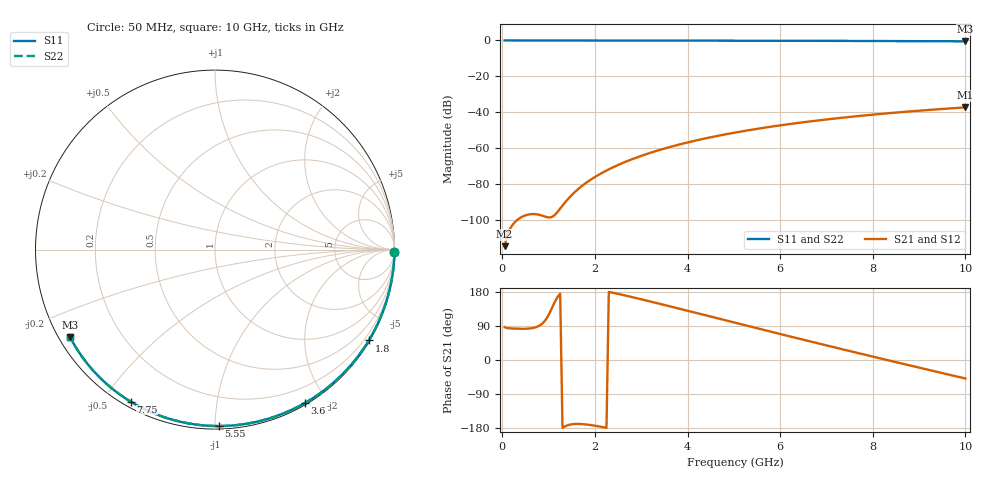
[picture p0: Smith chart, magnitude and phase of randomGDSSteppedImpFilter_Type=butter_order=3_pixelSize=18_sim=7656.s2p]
! freq	dB(S11)	phase(S11)	dB(S12)	phase(S12)
!  dB(S21)	phase(S21)	dB(S22)	phase(S22)
!S-par simulation data
#  GHz  S  DB  R 50
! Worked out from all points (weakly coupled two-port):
!   200 points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, 50 MHz to 10 GHz, reference 50 ohm
!   highest |S21| = -37.21 dB at 10 GHz (marker M1); lowest = -114.4 dB at 50 MHz (marker M2)
!   lowest |S11| = -0.5 dB at 10 GHz (marker M3), VSWR 34.57, Z = 1.56 - j14 ohm
!   |S11| at or under -10 dB: nowhere
!   |S22| runs from -0.5 to 0.0 dB; largest |S21 - S12| = 0
!   S11 on the Smith chart (normalised r, x): 50 MHz: open; 1.8 GHz: 0.03, -3.66; 3.6 GHz: 0.02, -1.75; 5.55 GHz: 0.02, -1.02; 7.75 GHz: 0.02, -0.59; 10 GHz: 0.03, -0.28
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0.05  -0.00 -0.9  -114.36 86.5  -114.36 86.5  -0.00 -0.9
0.45  -0.01 -7.8  -97.74 82.4  -97.74 82.4  -0.01 -7.8
0.9  -0.02 -15.4  -97.71 100.5  -97.71 100.5  -0.02 -15.4
1.3  -0.03 -22.2  -91.79 -179.3  -91.79 -179.3  -0.03 -22.2
1.75  -0.04 -29.7  -80.28 -169.4  -80.28 -169.4  -0.04 -29.7
1.8  -0.04 -30.6  -79.32 -170.0  -79.32 -170.0  -0.04 -30.6
1.95  -0.04 -33.1  -76.70 -172.4  -76.70 -172.4  -0.04 -33.1
2.1  -0.05 -35.5  -74.39 -175.5  -74.39 -175.5  -0.05 -35.5
2.3  -0.05 -38.8  -71.64 179.7  -71.64 179.7  -0.05 -38.8
2.5  -0.05 -42.1  -69.22 174.5  -69.22 174.5  -0.05 -42.1
2.9  -0.06 -48.5  -65.07 163.2  -65.07 163.2  -0.06 -48.5
3.4  -0.08 -56.5  -60.84 148.3  -60.84 148.3  -0.08 -56.5
3.6  -0.08 -59.6  -59.36 142.2  -59.36 142.2  -0.08 -59.6
4.3  -0.10 -70.3  -54.92 120.8  -54.92 120.8  -0.10 -70.3
5.05  -0.13 -81.5  -51.09 97.7  -51.09 97.7  -0.13 -81.5
5.55  -0.15 -88.7  -48.93 82.3  -48.93 82.3  -0.15 -88.7
6.1  -0.17 -96.5  -46.84 65.6  -46.84 65.6  -0.17 -96.5
6.7  -0.20 -104.8  -44.83 47.5  -44.83 47.5  -0.20 -104.8
7.75  -0.28 -119.0  -41.86 16.3  -41.86 16.3  -0.28 -119.0
8.35  -0.33 -127.0  -40.43 -1.3  -40.43 -1.3  -0.33 -127.0
9.2  -0.41 -138.2  -38.64 -25.9  -38.64 -25.9  -0.41 -138.2
10  -0.50 -148.8  -37.21 -48.8  -37.21 -48.8  -0.50 -148.8
